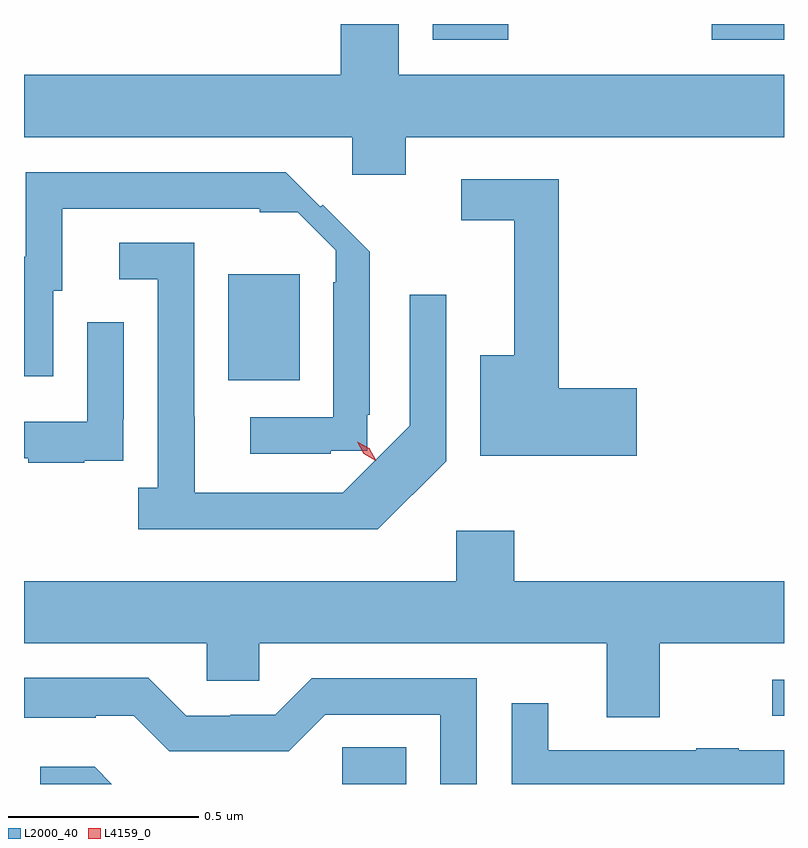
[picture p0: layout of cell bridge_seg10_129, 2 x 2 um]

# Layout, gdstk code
import gdstk
lib = gdstk.Library(unit=1e-6, precision=1e-09)
def R(c, l, rs):  # rectangles x0, y0, x1, y1
    for r in rs: c.add(gdstk.rectangle(r[:2], r[2:], *l))
def P(c, l, *ps):  # polygons
    for p in ps: c.add(gdstk.Polygon(p, *l))
L2000_40 = (2000, 40)
L4159_0 = (4159, 0)

bridge_seg10_129 = lib.new_cell('bridge_seg10_129')
R(bridge_seg10_129, L2000_40, [(364.518,1291.954,364.686,1292.051), (365.649,1292.133,365.68,1292.229), (364.217,1293.017,364.405,1293.295), (364.755,1293.912,364.954,1293.954), (365.49,1293.912,365.68,1293.954)])
P(bridge_seg10_129, L2000_40, [(364.684,1293.656),(365.68,1293.656),(365.68,1293.82),(364.666,1293.82),(364.666,1293.954),(364.514,1293.954),(364.514,1293.82),(363.68,1293.82),(363.68,1293.656),(364.544,1293.656),(364.544,1293.557),(364.684,1293.557)],
  [(364.487,1292.831),(364.583,1292.831),(364.583,1292.926),(364.59,1292.926),(364.59,1293.355),(364.466,1293.479),(364.46,1293.473),(364.369,1293.564),(363.684,1293.564),(363.684,1293.342),(363.68,1293.342),(363.68,1293.027),(363.757,1293.027),(363.757,1293.252),(363.781,1293.252),(363.781,1293.468),(364.3,1293.468),(364.3,1293.458),(364.401,1293.458),(364.5,1293.359),(364.5,1293.274),(364.494,1293.274),(364.494,1292.919),(364.275,1292.919),(364.275,1292.823),(364.487,1292.823)],
  [(365.293,1292.996),(365.087,1292.996),(365.087,1293.546),(364.83,1293.546),(364.83,1293.438),(364.97,1293.438),(364.97,1293.082),(364.88,1293.082),(364.88,1292.818),(365.293,1292.818)],
  [(364.791,1292.804),(364.791,1293.241),(364.695,1293.241),(364.695,1292.897),(364.519,1292.721),(364.129,1292.721),(364.129,1292.921),(364.128,1292.921),(364.128,1293.378),(363.93,1293.378),(363.93,1293.282),(364.032,1293.282),(364.032,1292.734),(363.981,1292.734),(363.981,1292.624),(364.611,1292.624)],
  [(363.839,1292.805),(363.941,1292.805),(363.941,1292.914),(363.942,1292.914),(363.942,1293.169),(363.846,1293.169),(363.846,1292.907),(363.68,1292.907),(363.68,1292.811),(363.691,1292.811),(363.691,1292.799),(363.839,1292.799)],
  [(365.353,1292.324),(365.68,1292.324),(365.68,1292.488),(364.97,1292.488),(364.97,1292.62),(364.817,1292.62),(364.817,1292.488),(363.68,1292.488),(363.68,1292.324),(364.161,1292.324),(364.161,1292.226),(364.299,1292.226),(364.299,1292.324),(365.213,1292.324),(365.213,1292.13),(365.353,1292.13)],
  [(364.872,1292.232),(364.437,1292.232),(364.341,1292.136),(364.223,1292.136),(364.223,1292.133),(364.107,1292.133),(364.007,1292.233),(363.68,1292.233),(363.68,1292.129),(363.869,1292.129),(363.869,1292.133),(363.969,1292.133),(364.062,1292.04),(364.377,1292.04),(364.473,1292.136),(364.776,1292.136),(364.776,1291.954),(364.872,1291.954)],
  [(365.68,1292.043),(365.561,1292.043),(365.561,1292.048),(365.449,1292.048),(365.449,1292.043),(365.059,1292.043),(365.059,1292.167),(364.963,1292.167),(364.963,1291.954),(365.68,1291.954)],
  [(363.866,1291.999),(363.723,1291.999),(363.723,1291.954),(363.911,1291.954)])
P(bridge_seg10_129, L4159_0, [(364.606,1292.805),(364.574,1292.823),(364.557,1292.855),(364.557,1292.855),(364.557,1292.855),(364.589,1292.837),(364.607,1292.805),(364.607,1292.805)])

lib.write_gds('bridge_seg10_129.gds')
